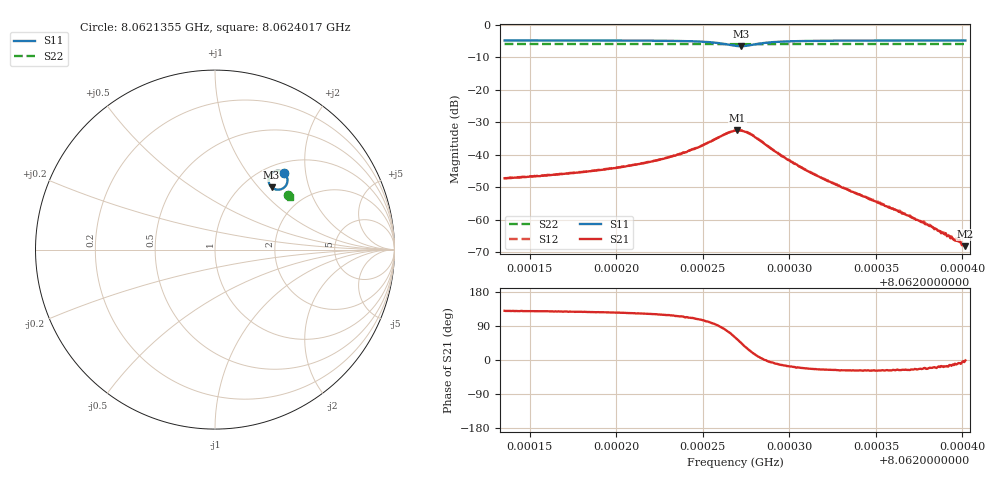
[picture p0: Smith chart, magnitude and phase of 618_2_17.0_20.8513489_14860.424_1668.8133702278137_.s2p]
#  HZ  S  RI  R  50.00
! Rohde & Schwarz Vector Network Analyzer
! Rohde-Schwarz,ZNB20-2Port,1311601062101988,3.16
! Created: UTC 3/20/2024, 11:19:49 PM
! freq[Hz]  re:S11  im:S11  re:S21  im:S21  re:S12  im:S12  re:S22  im:S22
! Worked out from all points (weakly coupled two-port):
!   401 points, 8.0621355 GHz to 8.0624017 GHz, reference 50 ohm
!   highest |S21| = -32.50 dB at 8.06227 GHz (marker M1); lowest = -68.1 dB at 8.0624017 GHz (marker M2)
!   lowest |S11| = -6.6 dB at 8.0622719 GHz (marker M3), VSWR 2.77, Z = 66.1 + j59 ohm
!   |S11| at or under -10 dB: nowhere
!   |S22| runs from -6.0 to -5.9 dB; largest |S21 - S12| = 0.0015
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8.06213554e9  0.3868 0.4267  -0.00279 0.00334  -0.00259 0.00353  0.4071 0.3042
8.06218012e9  0.3923 0.4202  -0.00327 0.0043  -0.00302 0.00453  0.4088 0.3015
8.06220407e9  0.3963 0.4147  -0.0037 0.00539  -0.00341 0.00565  0.4097 0.3001
8.0622247e9  0.4006 0.4056  -0.00418 0.00722  -0.00378 0.00758  0.4104 0.2987
8.06224067e9  0.4039 0.3912  -0.00434 0.0101  -0.00377 0.0105  0.4107 0.2972
8.06225531e9  0.3981 0.362  -0.00205 0.0163  -0.00126 0.0164  0.4108 0.2954
8.06226463e9  0.3658 0.3357  0.00571 0.0211  0.00691 0.0208  0.4091 0.2943
8.06226862e9  0.338 0.3353  0.0118 0.0204  0.013 0.0198  0.4082 0.2943
8.06226995e9  0.3283 0.3389  0.0139 0.0193  0.0149 0.0186  0.4077 0.2946
8.06227195e9  0.3152 0.348  0.0164 0.017  0.0175 0.0161  0.4075 0.2951
8.06227461e9  0.303 0.3652  0.0186 0.0128  0.0196 0.0121  0.4073 0.2961
8.06227794e9  0.2985 0.3885  0.019 0.0077  0.0197 0.00662  0.4075 0.2968
8.06228725e9  0.3184 0.4279  0.0138 -0.000665  0.0138 -0.00131  0.4092 0.2977
8.0622999e9  0.3449 0.439  0.00789 -0.00241  0.00773 -0.0029  0.4108 0.2973
8.0623132e9  0.3596 0.4387  0.00474 -0.00207  0.00471 -0.00235  0.412 0.2964
8.06233184e9  0.3702 0.4359  0.00271 -0.00138  0.00263 -0.00158  0.4131 0.2953
8.06235779e9  0.3781 0.4324  0.00136 -0.0007  0.00136 -0.000823  0.4142 0.2938
8.06236511e9  0.3797 0.4314  0.00112 -0.000548  0.00112 -0.000646  0.4146 0.2934
8.06238108e9  0.3824 0.4296  0.000749 -0.000279  0.000755 -0.000363  0.4149 0.2926
8.06239439e9  0.3843 0.4283  0.000498 -0.000104  0.000487 -0.000155  0.4156 0.2917
8.06239771e9  0.3848 0.4281  0.000463 -6.54e-05  0.000449 -0.000114  0.4156 0.2916
8.06240171e9  0.3853 0.4277  0.000392 -7.12e-06  0.0004 -5.34e-05  0.4158 0.2913
